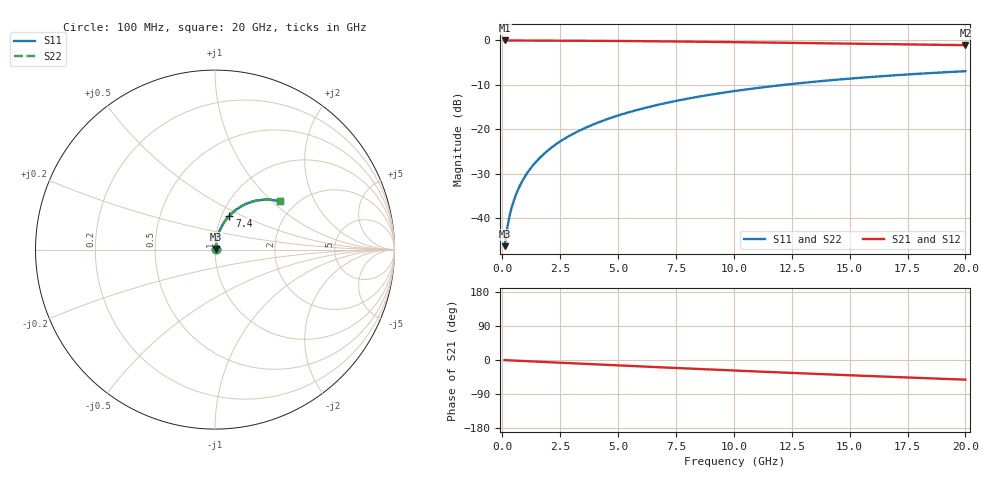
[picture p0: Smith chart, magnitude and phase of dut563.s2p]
! Touchstone file exported from HFSS 2026.1.0
!  File:  C:/ffzhzh/LocalFiles/Ansys_Project_Files/temp_train_TMRDL_563_1783007890_53980.aedt
!  Generated:  11:59:50 PM Jul  2, 2026
!  Design:  TMRDL
!  Project:  temp_train_TMRDL_563_1783007890_53980
! Variables:
!  h_bsmrdl = 2um
!  h_ox = 20um
!  h_rdl = 5um
!  h_sub = 80um
!  h_tmrdl = 3.23um
!  h_tsv = 80um
!  h_via = 3um
!  l_bsmrdl = 300um
!  l_sub = 1181.63um
!  l_tmrdl = 781.63um
!  m_sub = 200um
!  pitch = 54.68um
!  r_tsv = 6um
!  s_tmrdl = 10um
!  w_bsmrdl = 18um
!  w_sub = 500um
!  w_tmrdl = 25.24um
!  x_tsv_center1 = 794.25um
!  x_tsv_center2 = 1112.25um
!  x_tsv_center3 = 1919.12um
!  x_tsv_center4 = 2237.12um
!  x_tsv_center5 = 3043.99um
!  x_tsv_center6 = 3361.99um
# GHz S MA R 50.000000
! Terminal data exported
! Port[1] = TM_RDL1_1_T1
! Port[2] = TM_RDL1_1_T2
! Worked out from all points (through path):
!   200 points, 100 MHz to 20 GHz, reference 50 ohm
!   highest |S21| = -0.03 dB at 100 MHz (marker M1); lowest = -1.1 dB at 20 GHz (marker M2)
!   group delay of S21, straight-line fit = 7.21 ps
!   lowest |S11| = -46.3 dB at 100 MHz (marker M3), VSWR 1.01, Z = 50.4 + j0.322 ohm
!   |S11| at or under -10 dB: start of sweep to 12.2 GHz
!   |S22| runs from -46.3 to -6.9 dB; largest |S21 - S12| = 2.7e-15
!   S11 on the Smith chart (normalised r, x): 100 MHz: 1.01, +0.01; 7.4 GHz: 1.09, +0.43; 20 GHz: 1.66, +1.12
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0.1  0.00484 41.4  0.9964 -0.3  0.9964 -0.3  0.00484 41.4
! Gamma 0 0 0 0
! Port Impedance 50 0 50 0
0.2  0.007398 58.5  0.9962 -0.6  0.9962 -0.6  0.007397 58.5
0.3  0.01019 66.0  0.9959 -0.9  0.9959 -0.9  0.01019 66.0
0.4  0.01301 70.1  0.9957 -1.2  0.9957 -1.2  0.01301 70.1
0.5  0.01582 72.6  0.9956 -1.5  0.9956 -1.5  0.01582 72.6
0.6  0.01864 74.4  0.9954 -1.8  0.9954 -1.8  0.01864 74.4
0.8  0.02429 76.7  0.9952 -2.3  0.9952 -2.3  0.02429 76.7
1.1  0.03282 78.5  0.9948 -3.2  0.9948 -3.2  0.03282 78.5
1.3  0.03854 79.0  0.9945 -3.8  0.9945 -3.8  0.03854 79.0
1.6  0.04713 79.4  0.994 -4.6  0.994 -4.6  0.04713 79.4
2.1  0.06146 79.2  0.9931 -6.0  0.9931 -6.0  0.06146 79.2
2.7  0.07858 78.3  0.9916 -7.8  0.9916 -7.8  0.07858 78.4
3.5  0.1012 76.7  0.9892 -10.0  0.9892 -10.0  0.1012 76.8
4.2  0.1207 75.1  0.9867 -12.0  0.9867 -12.0  0.1207 75.1
5  0.1427 73.1  0.9833 -14.2  0.9833 -14.2  0.1427 73.2
6.8  0.1903 68.5  0.9742 -19.2  0.9742 -19.2  0.1903 68.6
7.4  0.2056 67.0  0.9708 -20.8  0.9708 -20.8  0.2056 67.0
8.7  0.2377 63.6  0.9628 -24.3  0.9628 -24.3  0.2377 63.7
10.1  0.2705 60.0  0.9535 -28.0  0.9535 -28.0  0.2705 60.1
13.4  0.3406 51.9  0.9298 -36.4  0.9298 -36.4  0.3405 52.0
16.7  0.4002 44.1  0.9054 -44.3  0.9054 -44.3  0.4001 44.2
20  0.4494 36.7  0.8819 -51.9  0.8819 -51.9  0.4493 36.8
